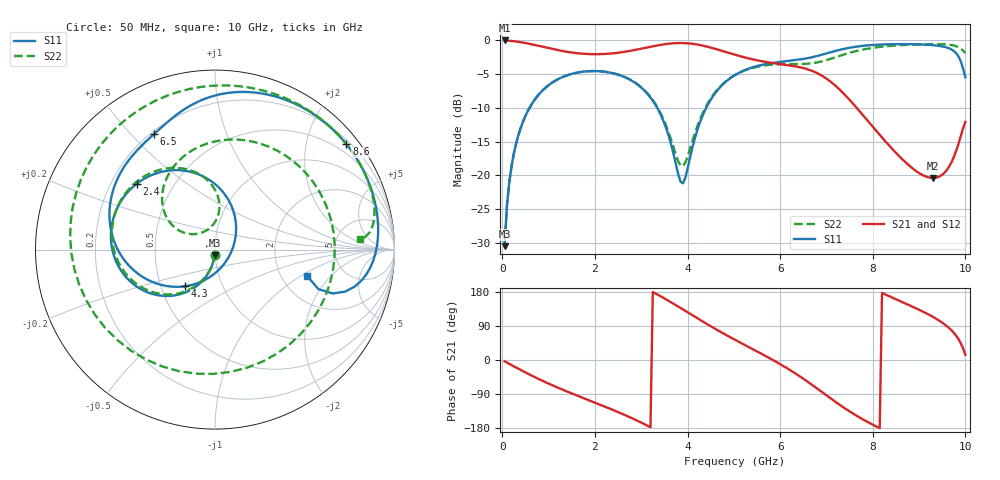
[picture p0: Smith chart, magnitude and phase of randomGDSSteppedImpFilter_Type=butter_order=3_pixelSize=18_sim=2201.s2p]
! freq	dB(S11)	phase(S11)	dB(S12)	phase(S12)
!  dB(S21)	phase(S21)	dB(S22)	phase(S22)
!S-par simulation data
#  GHz  S  DB  R 50
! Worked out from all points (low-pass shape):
!   200 points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, 50 MHz to 10 GHz, reference 50 ohm
!   highest |S21| = -0.01 dB at 50 MHz (marker M1); lowest = -20.4 dB at 9.3 GHz (marker M2)
!   |S21| within 3 dB of the highest: start of sweep to 5.545 GHz
!   lowest |S11| = -30.5 dB at 50 MHz (marker M3), VSWR 1.06, Z = 49.7 - j2.96 ohm
!   |S11| at or under -10 dB: start of sweep to 588.9 MHz; 3.344 GHz to 4.403 GHz (1.059 GHz wide, 27.3 % of centre)
!   |S22| runs from -30.5 to -0.5 dB; largest |S21 - S12| = 0
!   S11 on the Smith chart (normalised r, x): 50 MHz: 0.99, -0.06; 2.4 GHz: 0.31, +0.33; 4.3 GHz: 0.66, -0.29; 6.5 GHz: 0.21, +0.58; 8.6 GHz: 0.28, +2.82; 10 GHz: 2.76, -1.13
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0.05  -30.51 -93.5  -0.01 -3.4  -0.01 -3.4  -30.51 -93.6
0.2  -18.62 -103.6  -0.08 -13.5  -0.08 -13.5  -18.62 -104.1
0.5  -11.20 -122.7  -0.39 -32.9  -0.39 -32.9  -11.20 -124.0
1.05  -6.38 -154.2  -1.23 -65.0  -1.23 -65.0  -6.39 -156.9
1.75  -4.63 171.2  -1.98 -100.5  -1.98 -100.5  -4.63 167.0
2.4  -4.89 139.8  -1.91 -132.3  -1.91 -132.3  -4.88 135.3
3.4  -10.73 75.6  -0.68 169.5  -0.68 169.5  -10.54 86.9
3.9  -21.19 -36.4  -0.39 133.6  -0.39 133.6  -18.65 122.1
4.3  -11.58 -129.2  -0.73 103.7  -0.73 103.7  -11.20 150.2
5.05  -5.04 176.2  -2.17 51.7  -2.17 51.7  -5.04 105.2
5.75  -3.44 143.2  -3.26 6.3  -3.26 6.3  -3.64 49.1
6.15  -3.07 128.6  -3.66 -21.7  -3.66 -21.7  -3.51 7.9
6.5  -2.75 117.6  -4.10 -49.3  -4.10 -49.3  -3.49 -37.3
6.7  -2.48 111.7  -4.55 -66.5  -4.55 -66.5  -3.38 -67.2
7.05  -1.83 100.5  -5.91 -97.8  -5.91 -97.8  -2.82 -122.0
7.45  -1.15 85.3  -8.45 -131.8  -8.45 -131.8  -1.94 -178.4
7.9  -0.73 67.0  -11.99 -164.3  -11.99 -164.3  -1.22 132.7
8.35  -0.57 48.8  -15.55 168.5  -15.55 168.5  -0.83 95.6
8.6  -0.55 38.8  -17.37 154.7  -17.37 154.7  -0.70 78.4
9.3  -0.71 10.3  -20.40 113.8  -20.40 113.8  -0.55 37.7
9.7  -1.34 -9.0  -18.07 78.3  -18.07 78.3  -0.69 16.9
10  -5.48 -15.9  -12.09 13.6  -12.09 13.6  -1.85 4.2
